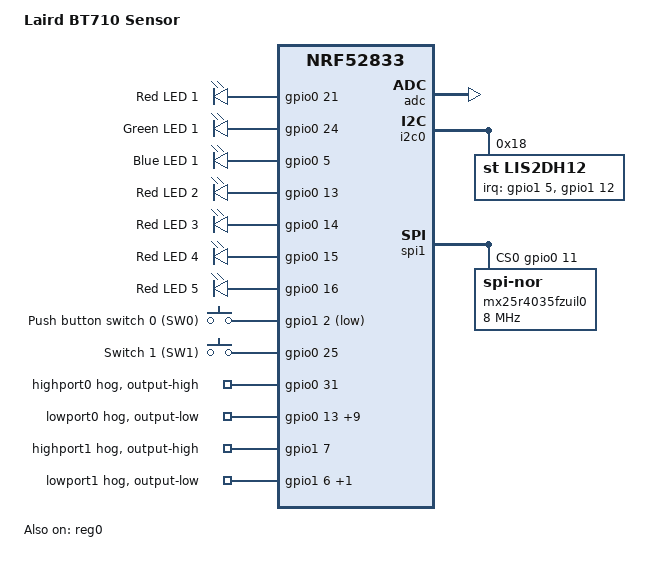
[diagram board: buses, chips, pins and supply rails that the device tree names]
/*
 * Copyright (c) 2020 Laird Connectivity
 * Copyright (c) 2024 Jamie M.
 *
 * SPDX-License-Identifier: Apache-2.0
 */

/dts-v1/;
#include <nordic/nrf52833_qiaa.dtsi>
#include "bt710-pinctrl.dtsi"

/ {
	model = "Laird BT710 Sensor";
	compatible = "nordic,nrf52833-dk-nrf52833";

	chosen {
		zephyr,console = &uart0;
		zephyr,shell-uart = &uart0;
		zephyr,uart-mcumgr = &uart0;
		zephyr,bt-mon-uart = &uart0;
		zephyr,bt-c2h-uart = &uart0;
		zephyr,sram = &sram0;
		zephyr,flash = &flash0;
		zephyr,code-partition = &slot0_partition;
	};

	leds {
		compatible = "gpio-leds";
		led1red: led_1red {
			gpios = <&gpio0 21 GPIO_ACTIVE_HIGH>;
			label = "Red LED 1";
		};
		led1green: led_1green {
			gpios = <&gpio0 24 GPIO_ACTIVE_HIGH>;
			label = "Green LED 1";
		};
		/* Given that the original board file can be summed up as a complete joke I do
		 * wonder if this is yet another fuck up and should be p0.25 since p0.05 is a UART
		 * pin, but who knows, who cares...
		 */
		led1blue: led_1blue {
			gpios = <&gpio0 5 GPIO_ACTIVE_HIGH>;
			label = "Blue LED 1";
		};
		led2red: led_2red {
			gpios = <&gpio0 13 GPIO_ACTIVE_HIGH>;
			label = "Red LED 2";
		};
		led3red: led_3red {
			gpios = <&gpio0 14 GPIO_ACTIVE_HIGH>;
			label = "Red LED 3";
		};
		led4red: led_4red {
			gpios = <&gpio0 15 GPIO_ACTIVE_HIGH>;
			label = "Red LED 4";
		};
		led5red: led_5red {
			gpios = <&gpio0 16 GPIO_ACTIVE_HIGH>;
			label = "Red LED 5";
		};
	};

/*
	pwmleds {
		compatible = "pwm-leds";

		led1red_pwm: led_pwm_1red {
			pwms = <&pwm1 21>;
			label = "Red PWM LED 1";
		};

		led1green_pwm: led_pwm_1green {
			pwms = <&pwm1 24>;
			label = "Green PWM LED 1";
		};

		led1blue_pwm: led_pwm_1blue {
			pwms = <&pwm1 5>;
			label = "Blue PWM LED 1";
		};

		led2red_pwm: led_pwm_2red {
			pwms = <&pwm2 13>;
			label = "Red PWM LED 2";
		};

		led3red_pwm: led_pwm_3red {
			pwms = <&pwm2 14>;
			label = "Red PWM LED 2";
		};

		led4red_pwm: led_pwm_4red {
			pwms = <&pwm2 15>;
			label = "Red PWM LED 2";
		};

		led5red_pwm: led_pwm_5red {
			pwms = <&pwm2 16>;
			label = "Red PWM LED 2";
		};
	};
*/

	buttons {
		compatible = "gpio-keys";
		button0: button_0 {
			gpios = <&gpio1 2 (GPIO_PULL_UP | GPIO_ACTIVE_LOW)>;
			label = "Push button switch 0 (SW0)";
		};
		/* This isn't even a button, who knows what it actually is, maybe it's the antenna
		 * select line, or one of them? But since that's an output then it's completely
		 * asinine that whatever this is has been declared an input given there is only
		 * one input on the whole sensor
		 */
		button1: button_1 {
			gpios = <&gpio0 25 GPIO_PULL_DOWN>;
			label = "Switch 1 (SW1)";
		};
	};

/*
	piezos {
		compatible = "pwm-leds";

		piezo0: piezo_0 {
			pwms = <&pwm0 17>;
			label = "Piezo";
		};
	};

	vibemotors {
		compatible = "pwm-leds";

		vibe0: vibe_0 {
			pwms = <&pwm3 20>;
			label = "Vibe Motor";
		};
	};
*/

	aliases {
		led1r = &led1red;
		led1g = &led1green;
		led1b = &led1blue;
		led2 = &led2red;
		led3 = &led3red;
		led4 = &led4red;
		led5 = &led5red;
/*
		led1rpwm = &led1red_pwm;
		led1gpwm = &led1green_pwm;
		led1bpwm = &led1blue_pwm;
		led2pwm = &led2red_pwm;
		led3pwm = &led3red_pwm;
		led4pwm = &led4red_pwm;
		led5pwm = &led5red_pwm;
*/
		sw0 = &button0;
		mcuboot-button0 = &button0;
		sw1 = &button1;
/*
		piezo = &piezo0;
		vibemotor = &vibe0;
*/
	};
};

/*
&pwm0 {
	status = "okay";
	ch0-pin = <17>;
};

&pwm1 {
	status = "okay";
	ch0-pin = <21>;
	ch1-pin = <24>;
	ch2-pin = <5>;
};

&pwm2 {
	status = "okay";
	ch0-pin = <13>;
	ch1-pin = <14>;
	ch2-pin = <15>;
	ch3-pin = <16>;
};

&pwm3 {
	status = "okay";
	ch0-pin = <20>;
};
*/

&adc {
	status = "okay";
};

&gpiote {
	status = "okay";
};

&gpio0 {
	status = "okay";

	/* What a random bunch of GPIOs, 10/10 for a great board file from the vendor where half of
	 * these pins are just completely undefined and not mentioned. No clue as what they do but
	 * they prevent the sensor from using 2.5mA continuously
	 */
	highport0 {
		gpio-hog;
		gpios = <31 GPIO_ACTIVE_HIGH>;
		output-high;
	};

	lowport0 {
		gpio-hog;
		gpios = <13 GPIO_ACTIVE_HIGH>,
			<14 GPIO_ACTIVE_HIGH>,
			<15 GPIO_ACTIVE_HIGH>,
			<16 GPIO_ACTIVE_HIGH>,
			<20 GPIO_ACTIVE_HIGH>,
			<21 GPIO_ACTIVE_HIGH>,
			<24 GPIO_ACTIVE_HIGH>,
			<25 GPIO_ACTIVE_HIGH>,
			<9 GPIO_ACTIVE_HIGH>,
			<28 GPIO_ACTIVE_HIGH>;
		output-low;
	};
};

&gpio1 {
	status = "okay";

	highport1 {
		gpio-hog;
		gpios = <7 GPIO_ACTIVE_HIGH>;
		output-high;
	};

	lowport1 {
		gpio-hog;
		gpios = <6 GPIO_ACTIVE_HIGH>,
			<8 GPIO_ACTIVE_HIGH>;
		output-low;
	};

};

&reg0 {
	status = "okay";
};

&reg1 {
	regulator-initial-mode = <NRF5X_REG_MODE_DCDC>;
};

&uicr {
	gpio-as-nreset;
};

&uart0 {
	compatible = "nordic,nrf-uarte";
	current-speed = <115200>;
	status = "disabled";
	pinctrl-0 = <&uart0_default>;
	pinctrl-1 = <&uart0_sleep>;
	pinctrl-names = "default", "sleep";
};

&i2c0 {
	compatible = "nordic,nrf-twim";
	status = "okay";
	pinctrl-0 = <&i2c0_default>;
	pinctrl-1 = <&i2c0_sleep>;
	pinctrl-names = "default", "sleep";

	lis2dh12@18 {
		compatible = "st,lis2dh12", "st,lis2dh";
		reg = <0x18>;
		irq-gpios = <&gpio1 5 GPIO_ACTIVE_HIGH>,
			    <&gpio1 12 GPIO_ACTIVE_HIGH>;
		disconnect-sdo-sa0-pull-up;
	};
};

&spi1 {
	compatible = "nordic,nrf-spim";
	status = "okay";
	pinctrl-0 = <&spi1_default>;
	pinctrl-1 = <&spi1_sleep>;
	pinctrl-names = "default", "sleep";
	cs-gpios = <&gpio0 11 0>;

	mx25r4035fzuil0@0 {
		compatible = "jedec,spi-nor";
		reg = <0>;
		spi-max-frequency = <8000000>;
		size = <0x400000>;
		has-dpd;
		t-enter-dpd = <10000>;
		t-exit-dpd = <35000>;
		dpd-wakeup-sequence = <30000 20 35000>;
		mxicy,mx25r-power-mode = "low-power";
		jedec-id = [c2 28 13];
	};
};

&flash0 {
	/*
	 * For more information, see:
	 * http://docs.zephyrproject.org/latest/guides/dts/index.html#flash-partitions
	 */
	partitions {
		compatible = "fixed-partitions";
		#address-cells = <1>;
		#size-cells = <1>;

		/* 48KiB */
		boot_partition: partition@0 {
			label = "mcuboot";
			reg = <0x000000000 0xC000>;
		};

		/* 304KiB */
		slot0_partition: partition@c000 {
			label = "image-0";
			reg = <0x0000C000 0x4c000>;
		};

		/* 136KiB */
		slot1_partition: partition@58000 {
			label = "image-1";
			reg = <0x00058000 0x22000>;
		};

		/* 24KiB */
		storage_partition: partition@7a000 {
			label = "storage";
			reg = <0x0007A000 0x00006000>;
		};
	};
};
